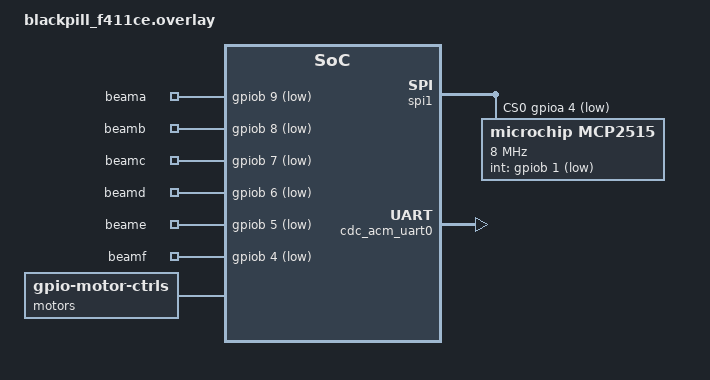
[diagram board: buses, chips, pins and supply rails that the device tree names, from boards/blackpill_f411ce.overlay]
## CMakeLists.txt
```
cmake_minimum_required(VERSION 3.20.0)

find_package(Zephyr REQUIRED HINTS $ENV{ZEPHYR_BASE})

project(dispenser)
target_sources(app PRIVATE src/main.c src/dispenser.c)
target_include_directories(app PRIVATE
  ${CMAKE_CURRENT_SOURCE_DIR}/../../lib
)
```

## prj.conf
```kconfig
CONFIG_GPIO=y
CONFIG_SPI=y
CONFIG_LED=y
CONFIG_USB_DEVICE_STACK_NEXT=y
CONFIG_CDC_ACM_SERIAL_INITIALIZE_AT_BOOT=y

CONFIG_CAN=y
```

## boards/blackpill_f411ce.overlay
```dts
#include <zephyr/dt-bindings/pinctrl/stm32-pinctrl.h>

/ {

  chosen {
    zephyr,console = &cdc_acm_uart0;
    zephyr,shell-uart = &cdc_acm_uart0;
    zephyr,canbus = &mcp2515;
  };

  aliases {
    led = &user_led;

    beama = &beama;
    beamb = &beamb;
    beamc = &beamc;
    beamd = &beamd;
    beame = &beame;
    beamf = &beamf;

    motora = &motora;
    motorb = &motorb;
    motorc = &motorc;
    motord = &motord;
    motore = &motore;
    motorf = &motorf;
  };

  switches {
    compatible = "gpio-keys";

     beama: beam_a {
       gpios = <&gpiob 9 GPIO_ACTIVE_LOW>;
     };
     beamb: beam_b {
       gpios = <&gpiob 8 GPIO_ACTIVE_LOW>;
     };
     beamc: beam_c {
       gpios = <&gpiob 7 GPIO_ACTIVE_LOW>;
     };
     beamd: beam_d {
       gpios = <&gpiob 6 GPIO_ACTIVE_LOW>;
     };
     beame: beam_e {
       gpios = <&gpiob 5 GPIO_ACTIVE_LOW>;
     };
     beamf: beam_f {
       gpios = <&gpiob 4 GPIO_ACTIVE_LOW>;
     };
  };

  motors {
    compatible = "gpio-motor-ctrls";

    motora: motor_a {
      gpios = <&gpiob 3 GPIO_ACTIVE_HIGH>;
    };
    motorb: motor_b {
      gpios = <&gpioa 15  GPIO_ACTIVE_HIGH>;
    };
    motorc: motor_c {
      gpios = <&gpioa 8 GPIO_ACTIVE_HIGH>;
    };
    motord: motor_d {
      gpios = <&gpiob 15 GPIO_ACTIVE_HIGH>;
    };
    motore: motor_e {
      gpios = <&gpioa 10 GPIO_ACTIVE_HIGH>;
    };
    motorf: motor_f {
      gpios = <&gpioa 9 GPIO_ACTIVE_HIGH>;
    };
  };
};

&usart1 {
  status = "disabled";
};

/* 
  Other SPI1 pins:
  PA5 CLK
  PA6 MISO
  PA7 MOSI
*/
&spi1 {
    status = "okay";
    cs-gpios = <&gpioa 4 GPIO_ACTIVE_LOW>;    

    mcp2515: mcp2515@0 {
        compatible = "microchip,mcp2515";
        reg = <0x0>;
        spi-max-frequency = <8000000>;
        int-gpios = <&gpiob 1 GPIO_ACTIVE_LOW>;
        osc-freq = <8000000>; /* 8 MHz crystal */
        status = "okay";
    };
};

&i2c1 {
  status = "disabled";
};

&zephyr_udc0 {
  cdc_acm_uart0: cdc_acm_uart0 {
    compatible = "zephyr,cdc-acm-uart";
  };
};
```

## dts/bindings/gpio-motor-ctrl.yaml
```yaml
description: A group of GPIO pins that control motor outputs.
compatible: "gpio-motor-ctrls"

child-binding:
  description: A single GPIO pin that controls a single motor via an external transistor.
  properties:
    gpios:
      type: phandle-array
      required: true
```

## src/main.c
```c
#include "can_protocol.h"
#include "dispenser.h"
#include <zephyr/drivers/can.h>
#include <zephyr/drivers/gpio.h>
#include <zephyr/drivers/led.h>
#include <zephyr/kernel.h>

#define DELAY_MS 10

#define RX_THREAD_STACK_SIZE 1024
#define RX_THREAD_PRIORITY 2

const struct device *const can_dev = DEVICE_DT_GET(DT_CHOSEN(zephyr_canbus));

K_THREAD_STACK_DEFINE(rx_thread_stack, RX_THREAD_STACK_SIZE);

CAN_MSGQ_DEFINE(dispense_msgq, 10);

struct k_thread rx_thread_data;

void tx_irq_callback(const struct device *dev, int error, void *arg) {
  char *sender = (char *)arg;

  ARG_UNUSED(dev);

  if (error != 0) {
    printk("Callback! error-code: %d\nSender: %s\n", error, sender);
  }
}

void rx_thread(void *arg1, void *arg2, void *arg3) {
  ARG_UNUSED(arg1);
  ARG_UNUSED(arg2);
  ARG_UNUSED(arg3);

  struct can_frame frame;
  enum can_target raw_t;

  enum cubby_id cubby;
  enum can_result can_res;
  enum dispenser_result disp_res;

  while (1) {
    k_msgq_get(&dispense_msgq, &frame, K_FOREVER);

    if (frame.dlc != 1U) {
      printk("Wrong data length: %u\n", frame.dlc);
      continue;
    }

    raw_t = frame.data[0];

    if (!is_cubby(raw_t)) {
      // TODO send bad arg response
      can_res = CAN_RES_BAD_ARG;
    } else {
      switch (raw_t) {
      case CAN_TARGET_A:
        cubby = CUBBY_A;
        break;
      case CAN_TARGET_B:
        cubby = CUBBY_B;
        break;
      case CAN_TARGET_C:
        cubby = CUBBY_C;
        break;
      case CAN_TARGET_D:
        cubby = CUBBY_D;
        break;
      case CAN_TARGET_E:
        cubby = CUBBY_E;
        break;
      case CAN_TARGET_F:
        cubby = CUBBY_F;
      default:
        // TODO send bad arg again
        break;
      }

      disp_res = dispense(cubby);

      // TODO: make this more specific
      can_res = disp_res == DISPENSER_OK ? CAN_RES_OK : CAN_RES_ERR;
    }

    struct can_frame frame = {
        .flags = 0,
        .id = CAN_ID_DISPENSE_RESP,
        .dlc = 1,
        .data = {can_res},
    };

    /* This sending call is non blocking. */
    can_send(can_dev, &frame, K_NO_WAIT, tx_irq_callback, "Dispense response");
  }
}

static const struct gpio_dt_spec btn = GPIO_DT_SPEC_GET(DT_ALIAS(sw0), gpios);

int main(void) {
  if (!gpio_is_ready_dt(&btn)) {
    return 0;
  }
  gpio_pin_configure_dt(&btn, GPIO_INPUT);

  if (dispenser_init() != 0) {
    return 0;
  };

  /* CAN setup */

  if (!device_is_ready(can_dev)) {
    printk("CAN: Device %s not ready.\n", can_dev->name);
    return 0;
  }

  int ret = can_set_mode(can_dev, CAN_MODE_NORMAL);
  if (ret != 0) {
    printk("Error setting CAN mode [%d]\n", ret);
    return 0;
  }

  ret = can_start(can_dev);
  if (ret != 0) {
    printk("Error starting CAN controller [%d]\n", ret);
    return 0;
  }

  const struct can_filter filter = {
      .flags = 0U,
      .id = CAN_ID_DISPENSE,
      .mask = CAN_MASK_CLASS_AND_NODE,
  };

  int filter_id = can_add_rx_filter_msgq(can_dev, &dispense_msgq, &filter);
  if (filter_id < 0) {
    printk("Unable to add rx filter [%d]\n", filter_id);
    return 0;
  }

  k_tid_t rx_tid = k_thread_create(
      &rx_thread_data, rx_thread_stack, K_THREAD_STACK_SIZEOF(rx_thread_stack),
      rx_thread, NULL, NULL, NULL, RX_THREAD_PRIORITY, 0, K_NO_WAIT);
  if (!rx_tid) {
    printk("ERROR spawning rx thread\n");
  }

  while (1) {
    for (int i = 0; i < NUM_CUBBIES; i++) {
      while (!gpio_pin_get_dt(&btn)) {
        k_msleep(DELAY_MS);
      }
      dispense((enum cubby_id)i);
    }
  }

  return 0;
}
```

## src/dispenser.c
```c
#include "dispenser.h"
#include <zephyr/drivers/gpio.h>
#include <zephyr/drivers/led.h>
#include <zephyr/kernel.h>

#define WAIT_MAX_MS 5000

struct cubby {
  const struct gpio_dt_spec motor;
  const struct gpio_dt_spec beam;
};

#define CUBBY(motor_alias, beam_alias)                                         \
  {.motor = GPIO_DT_SPEC_GET(DT_ALIAS(motor_alias), gpios),                    \
   .beam = GPIO_DT_SPEC_GET(DT_ALIAS(beam_alias), gpios)}

static const struct cubby cubbies[NUM_CUBBIES] = {
    [CUBBY_A] = CUBBY(motora, beama), [CUBBY_B] = CUBBY(motorb, beamb),
    [CUBBY_C] = CUBBY(motorc, beamc), [CUBBY_D] = CUBBY(motord, beamd),
    [CUBBY_E] = CUBBY(motore, beame), [CUBBY_F] = CUBBY(motorf, beamf)};

static const struct led_dt_spec led = LED_DT_SPEC_GET(DT_ALIAS(led));

enum phase {
  MOVE_UNTIL_BAR_BREAKS_BEAM,
  MOVE_UNTIL_BAR_CLEARS_BEAM,
  STOP,
};

static const int next_phase_beam_cond[2] = {
    [MOVE_UNTIL_BAR_BREAKS_BEAM] = 1,
    [MOVE_UNTIL_BAR_CLEARS_BEAM] = 0,
};

static atomic_t busy;

/*
  Helpers
*/

int poll_beam(const struct gpio_dt_spec *beam) {
  int res = gpio_pin_get_dt(beam);
  res ? led_on_dt(&led) : led_off_dt(&led);

  return res;
}

/*
  Public API
*/

int dispenser_init(void) {
  atomic_clear(&busy);

  if (!led_is_ready_dt(&led)) {
    return -ENODEV;
  }

  for (int i = 0; i < NUM_CUBBIES; i++) {
    const struct cubby *c = &cubbies[i];

    if (!gpio_is_ready_dt(&c->motor)) {
      return -ENODEV;
    }
    gpio_pin_configure_dt(&c->motor, GPIO_OUTPUT_INACTIVE);

    if (!gpio_is_ready_dt(&c->beam)) {
      return -ENODEV;
    }
    gpio_pin_configure_dt(&c->beam, GPIO_INPUT);
  }

  return 0;
}

enum dispenser_result dispense(enum cubby_id id) {
  if (!atomic_cas(&busy, 0, 1)) {
    return DISPENSER_ERR_BUSY;
  }

  const struct cubby *c = &cubbies[id];

  int beam_broken = poll_beam(&c->beam);
  enum phase curr_phase =
      beam_broken ? MOVE_UNTIL_BAR_CLEARS_BEAM : MOVE_UNTIL_BAR_BREAKS_BEAM;

  gpio_pin_set_dt(&c->motor, 1);

  int wait_budget = WAIT_MAX_MS;
  enum dispenser_result res = DISPENSER_OK;

  while (curr_phase < STOP) {
    bool cond_to_proceed = next_phase_beam_cond[curr_phase];

    while (wait_budget > 0) {
      beam_broken = poll_beam(&c->beam);
      if (beam_broken == cond_to_proceed) {
        break;
      }

      wait_budget--;
      k_msleep(1);
    }

    if (wait_budget <= 0) {
      res = DISPENSER_ERR_TIMEOUT;
      curr_phase = STOP;
      break;
    }

    curr_phase++;
  };

  gpio_pin_set_dt(&c->motor, 0);

  atomic_clear(&busy);

  return res;
}
```

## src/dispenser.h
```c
#pragma once

enum cubby_id {
  CUBBY_A,
  CUBBY_B,
  CUBBY_C,
  CUBBY_D,
  CUBBY_E,
  CUBBY_F,
  NUM_CUBBIES
};

enum dispenser_result {
  DISPENSER_OK,
  DISPENSER_ERR_BUSY,
  DISPENSER_ERR_TIMEOUT,
};

int dispenser_init(void);

// dispense is a blocking call until item is dispensed,
// or timeout occurs.
enum dispenser_result dispense(enum cubby_id id);
```
